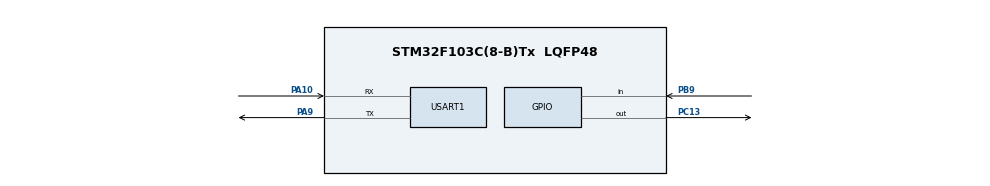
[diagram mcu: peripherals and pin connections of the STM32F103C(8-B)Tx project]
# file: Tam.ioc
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FREERTOS.Tasks01=defaultTask,24,128,StartDefaultTask,Default,NULL,Dynamic,NULL,NULL
FREERTOS.configCHECK_FOR_STACK_OVERFLOW=2
FREERTOS.configTOTAL_HEAP_SIZE=4096
Mcu.Family=STM32F1
Mcu.Name=STM32F103C(8-B)Tx
Mcu.Package=LQFP48
NVIC.PriorityGroup=NVIC_PRIORITYGROUP_4
NVIC.TIM4_IRQn=true\:15\:0\:false\:false\:true\:false\:false\:true\:true
NVIC.TimeBase=TIM4_IRQn
NVIC.TimeBaseIP=TIM4
PA10.Mode=Asynchronous
PA10.Signal=USART1_RX
PA13.Mode=Serial_Wire
PA13.Signal=SYS_JTMS-SWDIO
PA14.Mode=Serial_Wire
PA14.Signal=SYS_JTCK-SWCLK
PA9.Mode=Asynchronous
PA9.Signal=USART1_TX
PB9.Signal=GPIO_Input
PC13-TAMPER-RTC.Signal=GPIO_Output
ProjectManager.HeapSize=0x200
ProjectManager.StackSize=0x400
ProjectManager.TargetToolchain=CMake
RCC.APB1Freq_Value=8000000
RCC.APB2Freq_Value=8000000
USART1.VirtualMode=VM_ASYNC
VP_FREERTOS_VS_CMSIS_V2.Mode=CMSIS_V2
VP_SYS_VS_tim4.Mode=TIM4
board=custom

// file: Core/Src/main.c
/* USER CODE BEGIN Header */
/**
  ******************************************************************************
  * @file           : main.c
  * @brief          : Main program body
  ******************************************************************************
  * @attention
  *
  * Copyright (c) 2026 STMicroelectronics.
  * All rights reserved.
  *
  * This software is licensed under terms that can be found in the LICENSE file
  * in the root directory of this software component.
  * If no LICENSE file comes with this software, it is provided AS-IS.
  *
  ******************************************************************************
  */
/* USER CODE END Header */
#include "main.h"
#include "cmsis_os.h"
/* USER CODE BEGIN Includes */
#include <stdio.h>
#include <string.h>

/* USER CODE END Includes */

UART_HandleTypeDef huart1;

/* Definitions for defaultTask */
osThreadId_t defaultTaskHandle;
const osThreadAttr_t defaultTask_attributes = {
  .name = "defaultTask",
  .stack_size = 128 * 4,
  .priority = (osPriority_t) osPriorityNormal,
};
/* USER CODE BEGIN PV */
TaskHandle_t xTaskLed =NULL;
TaskHandle_t xTaskUart =NULL;
#define LED_Priority ( tskIDLE_PRIORITY +2 )
#define UART_Priority ( tskIDLE_PRIORITY +1 )
/* USER CODE END PV */

void SystemClock_Config(void);
static void MX_GPIO_Init(void);
static void MX_USART1_UART_Init(void);
void StartDefaultTask(void *argument);

/* USER CODE BEGIN PFP */
void vTaskLed(void * pvParameter);
void vTaskUart(void *pvParameter);
/* USER CODE END PFP */

int main(void)
{

  /* MCU Configuration--------------------------------------------------------*/

  /* Reset of all peripherals, Initializes the Flash interface and the Systick. */
  HAL_Init();

  /* Configure the system clock */
  SystemClock_Config();

  /* Initialize all configured peripherals */
  MX_GPIO_Init();
  MX_USART1_UART_Init();
  /* USER CODE BEGIN 2 */
  xTaskCreate(
  vTaskLed,
  "Task Led",
  128,
  NULL,
  LED_Priority,
  &xTaskLed
 );

 xTaskCreate(
  vTaskUart,
  "Task Uart",
  128,
  NULL,
  UART_Priority,
  &xTaskUart
 );

  /* USER CODE END 2 */

  /* Init scheduler */
  osKernelInitialize();

  /* Create the thread(s) */
  /* creation of defaultTask */
  defaultTaskHandle = osThreadNew(StartDefaultTask, NULL, &defaultTask_attributes);

  /* Start scheduler */
  osKernelStart();

  /* We should never get here as control is now taken by the scheduler */

  /* Infinite loop */
  while (1)
  {

  }
}

void SystemClock_Config(void)
{
  RCC_OscInitTypeDef RCC_OscInitStruct = {0};
  RCC_ClkInitTypeDef RCC_ClkInitStruct = {0};

  /** Initializes the RCC Oscillators according to the specified parameters
  * in the RCC_OscInitTypeDef structure.
  */
  RCC_OscInitStruct.OscillatorType = RCC_OSCILLATORTYPE_HSI;
  RCC_OscInitStruct.HSIState = RCC_HSI_ON;
  RCC_OscInitStruct.HSICalibrationValue = RCC_HSICALIBRATION_DEFAULT;
  RCC_OscInitStruct.PLL.PLLState = RCC_PLL_NONE;
  if (HAL_RCC_OscConfig(&RCC_OscInitStruct) != HAL_OK)
  {
    Error_Handler();
  }

  /** Initializes the CPU, AHB and APB buses clocks
  */
  RCC_ClkInitStruct.ClockType = RCC_CLOCKTYPE_HCLK|RCC_CLOCKTYPE_SYSCLK
                              |RCC_CLOCKTYPE_PCLK1|RCC_CLOCKTYPE_PCLK2;
  RCC_ClkInitStruct.SYSCLKSource = RCC_SYSCLKSOURCE_HSI;
  RCC_ClkInitStruct.AHBCLKDivider = RCC_SYSCLK_DIV1;
  RCC_ClkInitStruct.APB1CLKDivider = RCC_HCLK_DIV1;
  RCC_ClkInitStruct.APB2CLKDivider = RCC_HCLK_DIV1;

  if (HAL_RCC_ClockConfig(&RCC_ClkInitStruct, FLASH_LATENCY_0) != HAL_OK)
  {
    Error_Handler();
  }
}

static void MX_USART1_UART_Init(void)
{

  huart1.Instance = USART1;
  huart1.Init.BaudRate = 115200;
  huart1.Init.WordLength = UART_WORDLENGTH_8B;
  huart1.Init.StopBits = UART_STOPBITS_1;
  huart1.Init.Parity = UART_PARITY_NONE;
  huart1.Init.Mode = UART_MODE_TX_RX;
  huart1.Init.HwFlowCtl = UART_HWCONTROL_NONE;
  huart1.Init.OverSampling = UART_OVERSAMPLING_16;
  if (HAL_UART_Init(&huart1) != HAL_OK)
  {
    Error_Handler();
  }

}

static void MX_GPIO_Init(void)
{
  GPIO_InitTypeDef GPIO_InitStruct = {0};

  /* GPIO Ports Clock Enable */
  __HAL_RCC_GPIOC_CLK_ENABLE();
  __HAL_RCC_GPIOA_CLK_ENABLE();
  __HAL_RCC_GPIOB_CLK_ENABLE();

  /*Configure GPIO pin Output Level */
  HAL_GPIO_WritePin(GPIOC, GPIO_PIN_13, GPIO_PIN_RESET);

  /*Configure GPIO pin : PC13 */
  GPIO_InitStruct.Pin = GPIO_PIN_13;
  GPIO_InitStruct.Mode = GPIO_MODE_OUTPUT_PP;
  GPIO_InitStruct.Pull = GPIO_NOPULL;
  GPIO_InitStruct.Speed = GPIO_SPEED_FREQ_LOW;
  HAL_GPIO_Init(GPIOC, &GPIO_InitStruct);

  /*Configure GPIO pin : PB9 */
  GPIO_InitStruct.Pin = GPIO_PIN_9;
  GPIO_InitStruct.Mode = GPIO_MODE_INPUT;
  GPIO_InitStruct.Pull = GPIO_PULLUP;
  HAL_GPIO_Init(GPIOB, &GPIO_InitStruct);

  /* USER CODE BEGIN MX_GPIO_Init_2 */
  __HAL_RCC_USART1_CLK_ENABLE();
  /* USER CODE END MX_GPIO_Init_2 */
}

/* USER CODE BEGIN 4 */
void vTaskLed(void * pvParameter){
  for (;;){
    HAL_GPIO_TogglePin(GPIOC,GPIO_PIN_13);
    vTaskDelay( pdMS_TO_TICKS(1000));
  }
}

void vTaskUart( void *pvParameter){
  uint32_t count=0;
  char uart_buff[50];
  typedef enum{
    idle,
    debounce,
    wait
  }button_t;

  button_t nut =idle;
  uint32_t tick = HAL_GetTick();
  for (;;){

  switch(nut){
    case idle:
      if (HAL_GPIO_ReadPin(GPIOB,GPIO_PIN_9)==0){
        tick = HAL_GetTick();
        nut= debounce;
      }break;

      case debounce:
      if (HAL_GetTick()-tick >= 30){
        if (HAL_GPIO_ReadPin(GPIOB,GPIO_PIN_9)==0){
          count++;
          int len =sprintf(uart_buff, "So lan nhan: %lu\r\n", count);
          HAL_UART_Transmit(&huart1, (uint8_t *)uart_buff,len,HAL_MAX_DELAY);
          nut = wait;
        }else{nut=idle;
            }
      }break;

      case wait:
      if (HAL_GPIO_ReadPin(GPIOB,GPIO_PIN_9)==1){
        nut=idle;
      }break;
    }
    vTaskDelay(pdMS_TO_TICKS(10));
  }
}
/* USER CODE END 4 */

void StartDefaultTask(void *argument)
{
  for(;;)
  {
    osDelay(1);
  }
}

void HAL_TIM_PeriodElapsedCallback(TIM_HandleTypeDef *htim)
{
  if (htim->Instance == TIM4)
  {
    HAL_IncTick();
  }
}

void Error_Handler(void)
{
  __disable_irq();
  while (1)
  {
  }
}
